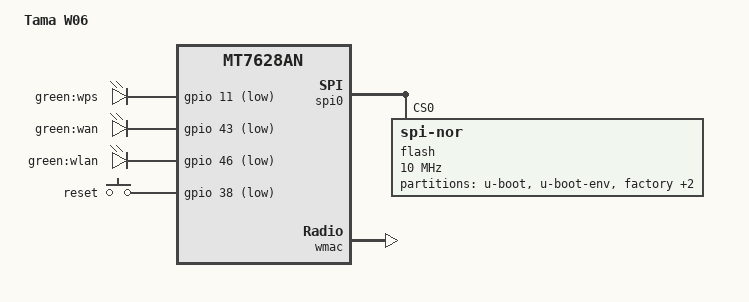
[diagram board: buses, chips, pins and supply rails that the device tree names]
#include "mt7628an.dtsi"

#include <dt-bindings/gpio/gpio.h>
#include <dt-bindings/input/input.h>

/ {
	compatible = "tama,w06", "mediatek,mt7628an-soc";
	model = "Tama W06";

	leds {
		compatible = "gpio-leds";

		wps {
			label = "green:wps";
			gpios = <&gpio 11 GPIO_ACTIVE_LOW>;
		};

		wan {
			label = "green:wan";
			gpios = <&gpio 43 GPIO_ACTIVE_LOW>;
		};

		wireless {
			label = "green:wlan";
			gpios = <&gpio 46 GPIO_ACTIVE_LOW>;
		};
	};

	keys {
		compatible = "gpio-keys";

		reset {
			label = "reset";
			gpios = <&gpio 38 GPIO_ACTIVE_LOW>;
			linux,code = <KEY_RESTART>;
		};
	};
};

&ethernet {
	nvmem-cells = <&macaddr_factory_28>;
	nvmem-cell-names = "mac-address";
};

&state_default {
	gpio {
		groups = "uart1", "p0led_an", "wdt";
		function = "gpio";
	};
};

&spi0 {
	status = "okay";

	flash@0 {
		compatible = "jedec,spi-nor";
		reg = <0>;
		spi-max-frequency = <10000000>;

		partitions {
			compatible = "fixed-partitions";
			#address-cells = <1>;
			#size-cells = <1>;

			partition@0 {
				label = "u-boot";
				reg = <0x0 0x30000>;
				read-only;
			};

			partition@30000 {
				label = "u-boot-env";
				reg = <0x30000 0x10000>;
				read-only;
			};

			factory: partition@40000 {
				label = "factory";
				reg = <0x40000 0x10000>;
				read-only;
			};

			partition@50000 {
				compatible = "denx,uimage";
				label = "firmware";
				reg = <0x50000 0xeb0000>;
			};

			partition@f00000 {
				label = "user-data";
				reg = <0xf00000 0x100000>;
				read-only;
			};
		};
	};
};

&wmac {
	status = "okay";

	mediatek,mtd-eeprom = <&factory 0x0>;
};

&factory {
	compatible = "nvmem-cells";
	#address-cells = <1>;
	#size-cells = <1>;

	macaddr_factory_28: macaddr@28 {
		reg = <0x28 0x6>;
	};
};
